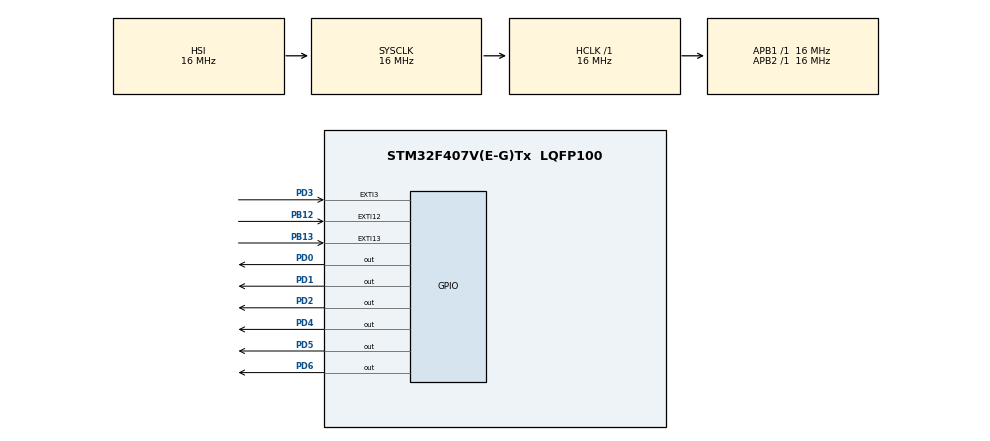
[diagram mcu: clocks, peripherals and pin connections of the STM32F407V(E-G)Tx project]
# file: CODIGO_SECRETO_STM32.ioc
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Mcu.Family=STM32F4
Mcu.Name=STM32F407V(E-G)Tx
Mcu.Package=LQFP100
NVIC.EXTI15_10_IRQn=true\:0\:0\:false\:false\:true\:true\:true\:true
NVIC.PriorityGroup=NVIC_PRIORITYGROUP_4
PB12.GPIO_ModeDefaultEXTI=GPIO_MODE_IT_FALLING
PB12.GPIO_PuPd=GPIO_PULLUP
PB12.Signal=GPXTI12
PB13.GPIO_ModeDefaultEXTI=GPIO_MODE_IT_FALLING
PB13.GPIO_PuPd=GPIO_PULLUP
PB13.Signal=GPXTI13
PD0.Signal=GPIO_Output
PD1.Signal=GPIO_Output
PD2.Signal=GPIO_Output
PD3.Signal=GPXTI3
PD4.Signal=GPIO_Output
PD5.Signal=GPIO_Output
PD6.Signal=GPIO_Output
ProjectManager.HeapSize=0x200
ProjectManager.StackSize=0x400
ProjectManager.TargetToolchain=STM32CubeIDE
RCC.AHBFreq_Value=16000000
RCC.APB1Freq_Value=16000000
RCC.APB2Freq_Value=16000000
RCC.CortexFreq_Value=16000000
RCC.HSE_VALUE=25000000
RCC.HSI_VALUE=16000000
RCC.LSE_VALUE=32768
RCC.SYSCLKFreq_VALUE=16000000
RCC.VCOOutputFreq_Value=192000000
board=custom

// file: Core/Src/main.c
/* USER CODE BEGIN Header */
/**
  ******************************************************************************
  * @file           : main.c
  * @brief          : Main program body
  ******************************************************************************
  * @attention
  *
  * Copyright (c) 2026 STMicroelectronics.
  * All rights reserved.
  *
  * This software is licensed under terms that can be found in the LICENSE file
  * in the root directory of this software component.
  * If no LICENSE file comes with this software, it is provided AS-IS.
  *
  ******************************************************************************
  */
/* USER CODE END Header */
#include "main.h"

/* USER CODE BEGIN Includes */
#include <stdint.h>
#include <stdbool.h>
/* USER CODE END Includes */

/* USER CODE BEGIN PD */
#define CONTADOR_MIN        0U //Valor mínimo del display
#define CONTADOR_MAX        7U //valor máximo del display
#define DEBOUNCE_MS         200 //ms de antirrebote

//DISPLAY
#define BTN_SUBIR_PORT      GPIOB
#define BTN_SUBIR_PIN       GPIO_PIN_12
#define BTN_BAJAR_PORT      GPIOB
#define BTN_BAJAR_PIN       GPIO_PIN_13

/* Mapeo de segmentos DISPLAY:
 * PD0 -> Seg A (Pin 10)
 * PD1 -> Seg B (Pin 9)
 * PD2 -> Seg C (Pin 1)
 * PD3 -> Seg D (Pin 4)
 * PD4 -> Seg E (Pin 3)
 * PD5 -> Seg F (Pin 6)
 * PD6 -> Seg G (Pin 5)
 */
#define SEG_A_PIN           GPIO_PIN_0
#define SEG_B_PIN           GPIO_PIN_1
#define SEG_C_PIN           GPIO_PIN_2
#define SEG_D_PIN           GPIO_PIN_3
#define SEG_E_PIN           GPIO_PIN_4
#define SEG_F_PIN           GPIO_PIN_5
#define SEG_G_PIN           GPIO_PIN_6
#define SEG_ALL_MASK        (SEG_A_PIN | SEG_B_PIN | SEG_C_PIN | \
                             SEG_D_PIN | SEG_E_PIN | SEG_F_PIN | SEG_G_PIN)
/* USER CODE END PD */

/* USER CODE BEGIN PV */
/* En anodo comun: 1 = segmento encendido, 0 = apagado.
 */
static const uint8_t tabla_digitos_7seg[10] = {
	0x3F, // 0: A B C D E F
    0x06, // 1:   B C
    0x5B, // 2: A B   D E   G
    0x4F, // 3: A B C D     G
    0x66, // 4:   B C     F G
    0x6D, // 5: A   C D   F G
    0x7D, // 6: A   C D E F G
    0x07, // 7: A B C
    0x7F, // 8: A B C D E F G
    0x6F  // 9: A B C D   F G
};
static uint8_t contador = 0;
static volatile bool flag_subir = false; //Flag Display
static volatile bool flag_bajar = false; //Flag Display
static uint32_t ultimo_tick_subir = 0U;
static uint32_t ultimo_tick_bajar = 0U;

/* USER CODE END PV */

void SystemClock_Config(void);
static void MX_GPIO_Init(void);
/* USER CODE BEGIN PFP */
static void mostrar_digito_7seg(uint8_t digito); // Enciende los segmentos PD0..PD6
/* USER CODE END PFP */

/* USER CODE BEGIN 0 */
static void mostrar_digito_7seg(uint8_t digito)
{
    if (digito > 9U) //Protección ante fallos
    {
        return;
    }

    uint8_t mask = tabla_digitos_7seg[digito];

    /* Apagamos todos los segmentos primero (SET = nivel alto en anodo comun) */
    HAL_GPIO_WritePin(GPIOD, SEG_ALL_MASK, GPIO_PIN_SET);

    /* Encendemos solo los segmentos activos (RESET = nivel bajo en anodo comun) */
    if (mask & (1U << 0)) HAL_GPIO_WritePin(GPIOD, SEG_A_PIN, GPIO_PIN_RESET);
    if (mask & (1U << 1)) HAL_GPIO_WritePin(GPIOD, SEG_B_PIN, GPIO_PIN_RESET);
    if (mask & (1U << 2)) HAL_GPIO_WritePin(GPIOD, SEG_C_PIN, GPIO_PIN_RESET);
    if (mask & (1U << 3)) HAL_GPIO_WritePin(GPIOD, SEG_D_PIN, GPIO_PIN_RESET);
    if (mask & (1U << 4)) HAL_GPIO_WritePin(GPIOD, SEG_E_PIN, GPIO_PIN_RESET);
    if (mask & (1U << 5)) HAL_GPIO_WritePin(GPIOD, SEG_F_PIN, GPIO_PIN_RESET);
    if (mask & (1U << 6)) HAL_GPIO_WritePin(GPIOD, SEG_G_PIN, GPIO_PIN_RESET);
}

void HAL_GPIO_EXTI_Callback(uint16_t GPIO_Pin) //Configuración de la función callback (activa flags)
{
    uint32_t ahora = HAL_GetTick();

    if (GPIO_Pin == BTN_SUBIR_PIN) //PIN PB12
    {
        if ((ahora - ultimo_tick_subir) >= DEBOUNCE_MS)
        {
            ultimo_tick_subir = ahora;
            flag_subir = true;
        }
    }
    else if (GPIO_Pin == BTN_BAJAR_PIN) //PIN PB13
    {
        if ((ahora - ultimo_tick_bajar) >= DEBOUNCE_MS)
        {
            ultimo_tick_bajar = ahora;
            flag_bajar = true;
        }
    }
}
/* USER CODE END 0 */

int main(void)
{

  /* MCU Configuration--------------------------------------------------------*/

  /* Reset of all peripherals, Initializes the Flash interface and the Systick. */
  HAL_Init();

  /* Configure the system clock */
  SystemClock_Config();

  /* Initialize all configured peripherals */
  MX_GPIO_Init();
  /* USER CODE BEGIN 2 */
  mostrar_digito_7seg(contador);
  /* USER CODE END 2 */

  /* Infinite loop */
  /* USER CODE BEGIN WHILE */
  while (1)
      {
          /* USER CODE BEGIN WHILE */
          bool actualizar = false;

          if (flag_subir)
          {
              flag_subir = false;
              contador = (contador >= CONTADOR_MAX) ? CONTADOR_MIN : (uint8_t)(contador + 1U);
              actualizar = true;
          }

          if (flag_bajar)
          {
              flag_bajar = false;
              contador = (contador <= CONTADOR_MIN) ? CONTADOR_MAX : (uint8_t)(contador - 1U);
              actualizar = true;
          }

          if (actualizar)
          {
              mostrar_digito_7seg(contador);
          }
          /* USER CODE END WHILE */

      }
  }

void SystemClock_Config(void)
{
  RCC_OscInitTypeDef RCC_OscInitStruct = {0};
  RCC_ClkInitTypeDef RCC_ClkInitStruct = {0};

  /** Configure the main internal regulator output voltage
  */
  __HAL_RCC_PWR_CLK_ENABLE();
  __HAL_PWR_VOLTAGESCALING_CONFIG(PWR_REGULATOR_VOLTAGE_SCALE1);

  /** Initializes the RCC Oscillators according to the specified parameters
  * in the RCC_OscInitTypeDef structure.
  */
  RCC_OscInitStruct.OscillatorType = RCC_OSCILLATORTYPE_HSI;
  RCC_OscInitStruct.HSIState = RCC_HSI_ON;
  RCC_OscInitStruct.HSICalibrationValue = RCC_HSICALIBRATION_DEFAULT;
  RCC_OscInitStruct.PLL.PLLState = RCC_PLL_NONE;
  if (HAL_RCC_OscConfig(&RCC_OscInitStruct) != HAL_OK)
  {
    Error_Handler();
  }

  /** Initializes the CPU, AHB and APB buses clocks
  */
  RCC_ClkInitStruct.ClockType = RCC_CLOCKTYPE_HCLK|RCC_CLOCKTYPE_SYSCLK
                              |RCC_CLOCKTYPE_PCLK1|RCC_CLOCKTYPE_PCLK2;
  RCC_ClkInitStruct.SYSCLKSource = RCC_SYSCLKSOURCE_HSI;
  RCC_ClkInitStruct.AHBCLKDivider = RCC_SYSCLK_DIV1;
  RCC_ClkInitStruct.APB1CLKDivider = RCC_HCLK_DIV1;
  RCC_ClkInitStruct.APB2CLKDivider = RCC_HCLK_DIV1;

  if (HAL_RCC_ClockConfig(&RCC_ClkInitStruct, FLASH_LATENCY_0) != HAL_OK)
  {
    Error_Handler();
  }
}

static void MX_GPIO_Init(void)
{
  GPIO_InitTypeDef GPIO_InitStruct = {0};

  /* GPIO Ports Clock Enable */
  __HAL_RCC_GPIOB_CLK_ENABLE();
  __HAL_RCC_GPIOD_CLK_ENABLE();

  /*Configure GPIO pin Output Level */
  HAL_GPIO_WritePin(GPIOD, GPIO_PIN_0|GPIO_PIN_1|GPIO_PIN_2|GPIO_PIN_4
                          |GPIO_PIN_5|GPIO_PIN_6, GPIO_PIN_RESET);

  /*Configure GPIO pins : PB12 PB13 */
  GPIO_InitStruct.Pin = GPIO_PIN_12|GPIO_PIN_13;
  GPIO_InitStruct.Mode = GPIO_MODE_IT_FALLING;
  GPIO_InitStruct.Pull = GPIO_PULLUP;
  HAL_GPIO_Init(GPIOB, &GPIO_InitStruct);

  /*Configure GPIO pins : PD0 PD1 PD2 PD4
                           PD5 PD6 */
  GPIO_InitStruct.Pin = GPIO_PIN_0|GPIO_PIN_1|GPIO_PIN_2|GPIO_PIN_4
                          |GPIO_PIN_5|GPIO_PIN_6;
  GPIO_InitStruct.Mode = GPIO_MODE_OUTPUT_PP;
  GPIO_InitStruct.Pull = GPIO_NOPULL;
  GPIO_InitStruct.Speed = GPIO_SPEED_FREQ_LOW;
  HAL_GPIO_Init(GPIOD, &GPIO_InitStruct);

  /*Configure GPIO pin : PD3 */
  GPIO_InitStruct.Pin = GPIO_PIN_3;
  GPIO_InitStruct.Mode = GPIO_MODE_IT_RISING;
  GPIO_InitStruct.Pull = GPIO_NOPULL;
  HAL_GPIO_Init(GPIOD, &GPIO_InitStruct);

  /* EXTI interrupt init*/
  HAL_NVIC_SetPriority(EXTI15_10_IRQn, 0, 0);
  HAL_NVIC_EnableIRQ(EXTI15_10_IRQn);

}

void Error_Handler(void)
{
  __disable_irq();
  while (1)
  {
  }
}
